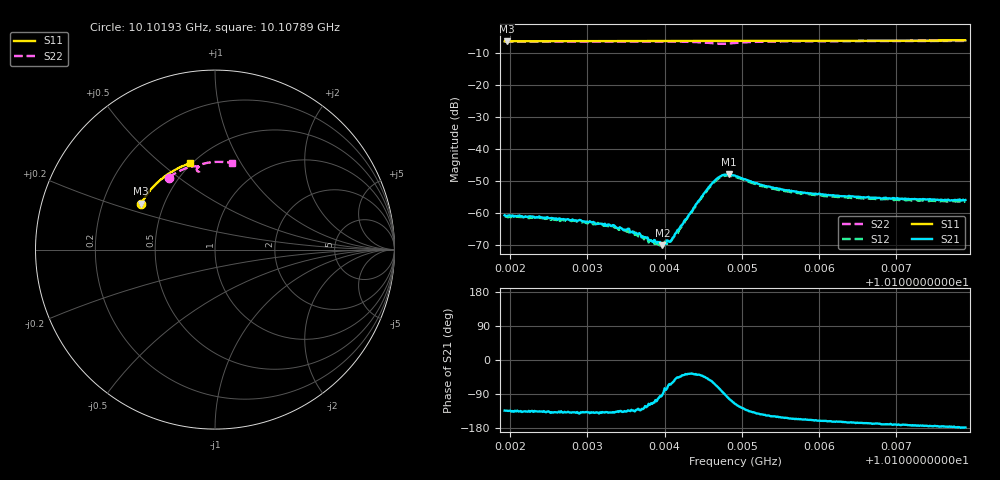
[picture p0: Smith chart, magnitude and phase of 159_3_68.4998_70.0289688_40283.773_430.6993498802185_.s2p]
#  HZ  S  RI  R  50.00
! Rohde & Schwarz Vector Network Analyzer
! Rohde-Schwarz,ZNB20-2Port,1311601062101988,3.16
! Created: UTC 3/20/2024, 4:55:43 PM
! freq[Hz]  re:S11  im:S11  re:S21  im:S21  re:S12  im:S12  re:S22  im:S22
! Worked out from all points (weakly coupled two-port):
!   401 points, 10.10193 GHz to 10.10789 GHz, reference 50 ohm
!   highest |S21| = -48.02 dB at 10.10484 GHz (marker M1); lowest = -70.1 dB at 10.10397 GHz (marker M2)
!   lowest |S11| = -6.3 dB at 10.10196 GHz (marker M3), VSWR 2.88, Z = 18.6 + j12.4 ohm
!   |S11| at or under -10 dB: nowhere
!   |S22| runs from -7.1 to -6.2 dB; largest |S21 - S12| = 0.00041
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1.0101931e10  -0.4127 0.2548  -0.000628 -0.000662  -0.000553 -0.00067  -0.2584 0.4015
1.0101961e10  -0.4118 0.2562  -0.000618 -0.000642  -0.000541 -0.000672  -0.2568 0.4026
1.0102304e10  -0.4014 0.2743  -0.000631 -0.00059  -0.000554 -0.000646  -0.2382 0.4151
1.010293e10  -0.3801 0.3061  -0.000555 -0.000491  -0.000496 -0.000499  -0.2023 0.4354
1.0103317e10  -0.3659 0.3248  -0.000464 -0.000407  -0.000412 -0.000428  -0.1787 0.4465
1.0103466e10  -0.3602 0.3318  -0.00039 -0.000366  -0.000362 -0.000407  -0.1691 0.4505
1.0103511e10  -0.3583 0.3339  -0.000387 -0.000379  -0.000326 -0.000383  -0.1661 0.4516
1.010366e10  -0.3524 0.3409  -0.000293 -0.000367  -0.000263 -0.000332  -0.1564 0.4551
1.0103824e10  -0.3456 0.3481  -0.000151 -0.000337  -0.000138 -0.000346  -0.1451 0.4588
1.0103928e10  -0.3413 0.3529  -5.67e-05 -0.00034  -1.97e-05 -0.000312  -0.1375 0.4608
1.0103973e10  -0.3395 0.3548  -7.6e-06 -0.000313  5.76e-05 -0.00031  -0.1342 0.4615
1.0104092e10  -0.3346 0.36  0.00018 -0.000328  0.000211 -0.000306  -0.125 0.4633
1.0104197e10  -0.33 0.3644  0.000413 -0.000402  0.000421 -0.000362  -0.1163 0.4641
1.0104405e10  -0.3209 0.3733  0.00107 -0.000808  0.00108 -0.000702  -0.0972 0.4619
1.0104629e10  -0.3108 0.3823  0.00151 -0.00259  0.00168 -0.00235  -0.082 0.4444
1.0104733e10  -0.3062 0.3864  0.000625 -0.00371  0.000879 -0.00351  -0.0882 0.4349
1.0104837e10  -0.3014 0.3904  -0.000882 -0.00387  -0.000531 -0.00379  -0.0986 0.438
1.0104912e10  -0.298 0.3933  -0.00166 -0.00343  -0.00127 -0.0034  -0.1015 0.4456
1.0105359e10  -0.2767 0.41  -0.00216 -0.00138  -0.00193 -0.00148  -0.0749 0.4747
1.010591e10  -0.2491 0.429  -0.00184 -0.000732  -0.00171 -0.000851  -0.0353 0.4847
1.0106909e10  -0.1963 0.4581  -0.00166 -0.000297  -0.00155 -0.000447  0.0313 0.4889
1.0107892e10  -0.1409 0.4801  -0.00158 -5.35e-05  -0.00149 -0.000165  0.0948 0.483
